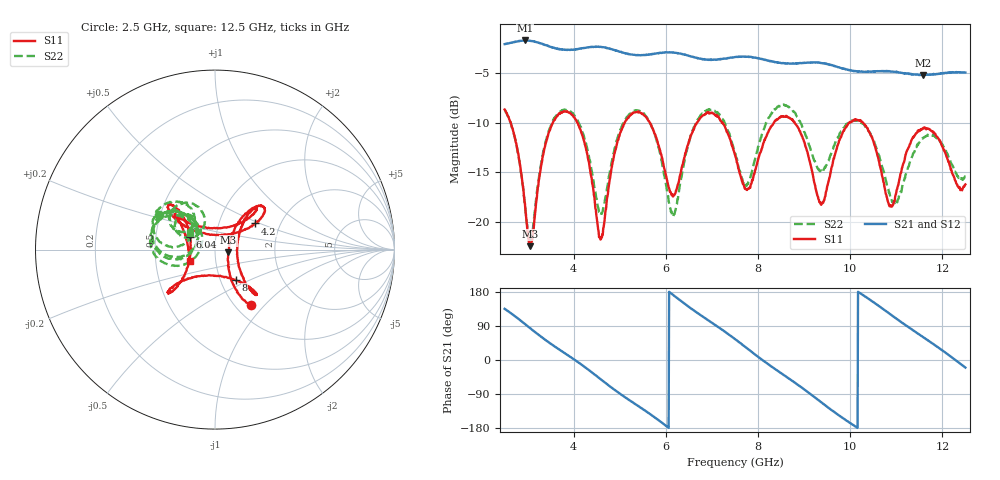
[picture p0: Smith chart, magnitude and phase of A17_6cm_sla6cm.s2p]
!Keysight Technologies N9950B: A.12.38
!Date: Monday, 17 April 2023 21:06:24
!Timezone: (UTC-06:00) Central Time (US & Canada)
!Model: N9950B
!Serial: MY61131330
!GPS Latitude:
!GPS Longitude:
!GPS TimeStamp: 0001-01-01 00:00:00Z
!GPS Seconds Since Last Read: 0
!CHECKSUM:1336929567
!Correction: S11(ON U)S21(ON U)S12(ON U)S22(ON U)
!S2P File: Measurements:S11,S21,S12,S22:
# Hz S DB R 50
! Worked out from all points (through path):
!   1001 points, 2.5 GHz to 12.5 GHz, reference 50 ohm
!   highest |S21| = -1.70 dB at 2.94 GHz (marker M1); lowest = -5.2 dB at 11.59 GHz (marker M2)
!   group delay of S21, straight-line fit = 243 ps
!   lowest |S11| = -22.5 dB at 3.05 GHz (marker M3), VSWR 1.16, Z = 57.9 - j1.81 ohm
!   |S11| at or under -10 dB: 7.233 GHz to 8.347 GHz (1.114 GHz wide, 14.3 % of centre); 8.795 GHz to 9.978 GHz (1.183 GHz wide, 12.6 % of centre); 10.28 GHz to end of sweep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
!   |S22| runs from -22.1 to -8.2 dB; largest |S21 - S12| = 0.0055
!   S11 on the Smith chart (normalised r, x): 2.5 GHz: 1.18, -0.84; 4.2 GHz: 1.49, +0.47; 6.04 GHz: 0.75, +0.11; 8 GHz: 1.18, -0.42; 12.5 GHz: 0.75, -0.09
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2.5e9  -8.67 -57.0  -2.07 135.1  -2.08 135.2  -8.69 148.7
2.94e9  -18.11 -51.2  -1.70 95.1  -1.69 95.0  -18.32 129.1
3.05e9  -22.46 -11.9  -1.73 84.5  -1.73 84.4  -22.08 163.6
3.54e9  -10.10 47.6  -2.39 39.6  -2.40 39.7  -9.90 -170.6
4.17e9  -11.05 33.2  -2.49 -12.3  -2.49 -12.3  -10.72 139.0
4.2e9  -11.49 33.2  -2.48 -15.0  -2.46 -15.0  -11.07 137.0
4.58e9  -21.80 84.4  -2.34 -50.2  -2.34 -50.4  -19.26 160.6
4.92e9  -12.47 142.8  -2.74 -81.8  -2.70 -81.9  -12.07 -168.5
5.4e9  -8.97 135.9  -3.18 -121.5  -3.17 -121.6  -8.77 158.6
5.84e9  -12.27 134.6  -2.96 -158.8  -2.97 -158.8  -12.54 127.8
6.04e9  -16.15 152.4  -2.91 -177.2  -2.88 -177.2  -17.22 132.8
6.76e9  -9.43 -135.8  -3.55 118.0  -3.54 117.9  -9.23 172.5
7.5e9  -13.27 -131.8  -3.37 55.2  -3.37 55.3  -13.07 130.2
7.74e9  -16.72 -98.2  -3.33 32.8  -3.34 32.8  -16.27 153.1
8e9  -13.74 -55.6  -3.51 8.7  -3.50 8.8  -12.44 177.1
8.61e9  -9.31 -47.7  -4.04 -44.1  -4.02 -43.9  -8.25 143.0
9.17e9  -14.86 -38.9  -3.90 -92.9  -3.90 -92.9  -13.09 121.4
9.41e9  -18.10 8.2  -4.02 -115.2  -4.02 -115.2  -14.97 142.1
9.95e9  -10.14 46.8  -4.66 -162.3  -4.68 -162.7  -10.06 143.1
1.084e10  -18.24 77.5  -4.78 123.3  -4.81 123.5  -17.07 117.1
1.159e10  -10.51 138.8  -5.20 59.7  -5.16 59.9  -11.51 146.4
1.25e10  -16.23 -156.7  -4.93 -20.0  -4.95 -19.9  -15.46 146.5
